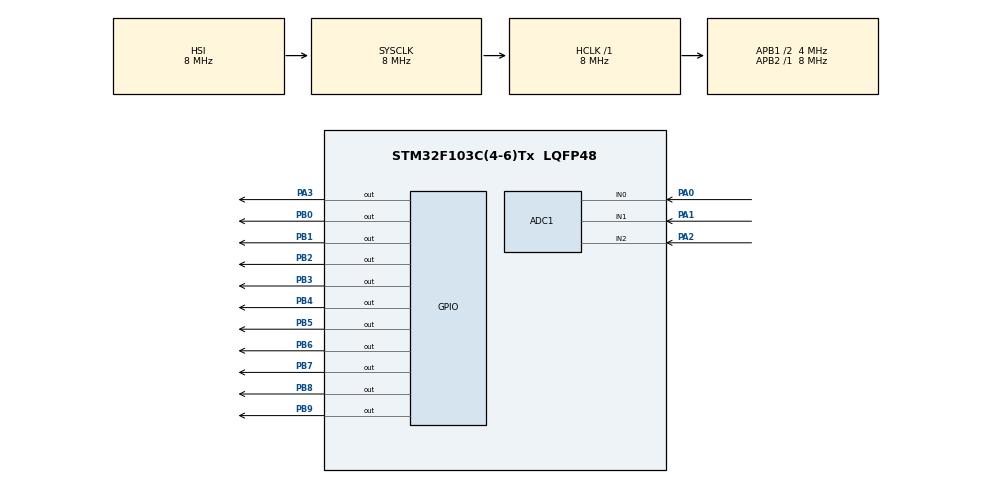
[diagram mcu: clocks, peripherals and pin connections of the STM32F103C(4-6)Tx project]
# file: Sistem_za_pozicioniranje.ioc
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ADC1.Channel-0\#ChannelRegularConversion=ADC_CHANNEL_0
ADC1.Channel-1\#ChannelRegularConversion=ADC_CHANNEL_1
ADC1.Channel-2\#ChannelRegularConversion=ADC_CHANNEL_2
ADC1.ContinuousConvMode=DISABLE
ADC1.NbrOfConversion=3
ADC1.NbrOfConversionFlag=1
ADC1.Rank-0\#ChannelRegularConversion=1
ADC1.Rank-1\#ChannelRegularConversion=2
ADC1.Rank-2\#ChannelRegularConversion=3
ADC1.SamplingTime-0\#ChannelRegularConversion=ADC_SAMPLETIME_239CYCLES_5
ADC1.SamplingTime-1\#ChannelRegularConversion=ADC_SAMPLETIME_239CYCLES_5
ADC1.SamplingTime-2\#ChannelRegularConversion=ADC_SAMPLETIME_239CYCLES_5
ADC1.master=1
Mcu.Family=STM32F1
Mcu.Name=STM32F103C(4-6)Tx
Mcu.Package=LQFP48
NVIC.PriorityGroup=NVIC_PRIORITYGROUP_4
PA0-WKUP.Signal=ADCx_IN0
PA1.Signal=ADCx_IN1
PA13.Mode=Serial_Wire
PA13.Signal=SYS_JTMS-SWDIO
PA14.Mode=Serial_Wire
PA14.Signal=SYS_JTCK-SWCLK
PA2.Signal=ADCx_IN2
PA3.Signal=GPIO_Output
PB0.Signal=GPIO_Output
PB1.Signal=GPIO_Output
PB2.Signal=GPIO_Output
PB3.Signal=GPIO_Output
PB4.Signal=GPIO_Output
PB5.Signal=GPIO_Output
PB6.Signal=GPIO_Output
PB7.Signal=GPIO_Output
PB8.Signal=GPIO_Output
PB9.Signal=GPIO_Output
PD0-OSC_IN.Mode=HSE-External-Oscillator
PD0-OSC_IN.Signal=RCC_OSC_IN
PD1-OSC_OUT.Mode=HSE-External-Oscillator
PD1-OSC_OUT.Signal=RCC_OSC_OUT
ProjectManager.HeapSize=0x200
ProjectManager.StackSize=0x400
ProjectManager.TargetToolchain=STM32CubeIDE
RCC.AHBFreq_Value=8000000
RCC.APB1CLKDivider=RCC_HCLK_DIV2
RCC.APB1Freq_Value=4000000
RCC.APB1TimFreq_Value=8000000
RCC.APB2Freq_Value=8000000
RCC.APB2TimFreq_Value=8000000
RCC.HCLKFreq_Value=8000000
RCC.SYSCLKFreq_VALUE=8000000
RCC.USBFreq_Value=8000000
SH.ADCx_IN0.0=ADC1_IN0,IN0
SH.ADCx_IN1.0=ADC1_IN1,IN1
SH.ADCx_IN2.0=ADC1_IN2,IN2
board=custom

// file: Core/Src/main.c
/* USER CODE BEGIN Header */
/**
  ******************************************************************************
  * @file           : main.c
  * @brief          : Main program body
  ******************************************************************************
  * @attention
  *
  * Copyright (c) 2024 STMicroelectronics.
  * All rights reserved.
  *
  * This software is licensed under terms that can be found in the LICENSE file
  * in the root directory of this software component.
  * If no LICENSE file comes with this software, it is provided AS-IS.
  *
  ******************************************************************************
  */
/* USER CODE END Header */
#include "main.h"

ADC_HandleTypeDef hadc1;

void SystemClock_Config(void);
static void MX_GPIO_Init(void);
static void MX_ADC1_Init(void);

/* USER CODE BEGIN 0 */

void LCD(uint8_t val_1, uint8_t cmd)
{
	uint8_t data1;

	HAL_GPIO_WritePin(GPIOB, GPIO_PIN_8, cmd); // set RS = cmd; (cmd=0)=>Command; (cmd=1) => data

	data1 = val_1 & 0x01;
	HAL_GPIO_WritePin(GPIOB, GPIO_PIN_0, data1);

	data1 = (val_1 >> 1) & 0x01;
	HAL_GPIO_WritePin(GPIOB, GPIO_PIN_1, data1);

	data1 = (val_1 >> 2) & 0x01;
	HAL_GPIO_WritePin(GPIOB, GPIO_PIN_2, data1);

	data1 = (val_1 >> 3) & 0x01;
	HAL_GPIO_WritePin(GPIOB, GPIO_PIN_3, data1);

	data1 = (val_1 >> 4) & 0x01;
	HAL_GPIO_WritePin(GPIOB, GPIO_PIN_4, data1);

	data1 = (val_1 >> 5) & 0x01;
	HAL_GPIO_WritePin(GPIOB, GPIO_PIN_5, data1);

	data1 = (val_1 >> 6) & 0x01;
	HAL_GPIO_WritePin(GPIOB, GPIO_PIN_6, data1);

	data1 = (val_1 >> 7) & 0x01;
	HAL_GPIO_WritePin(GPIOB, GPIO_PIN_7, data1);

	//Enable
	HAL_GPIO_WritePin(GPIOB, GPIO_PIN_9, GPIO_PIN_SET);
	HAL_Delay(5);
	HAL_GPIO_WritePin(GPIOB, GPIO_PIN_9, GPIO_PIN_RESET);
}

// Helper function to send command to the LCD
void LCD_command(uint8_t command)
{
    LCD(command, 0); // Send command
}

// Helper function to send data to the LCD
void LCD_data(const char* str)
{
    // Iterate through each character in the string
    while (*str)
    {
        // Cast the character to uint8_t and send it to the LCD as data
        LCD((uint8_t)(*str), 1);
        str++;  // Move to the next character
    }
}

void LCD_init()
{
	LCD_command(0x38); //2 lines, 5*7 matrix
	LCD_command(0x0C); //Display on, cursor off
	LCD_command(0x06); //Increment cursor (shift to right)
	LCD_command(0x01); //Clear display screen
	LCD_command(0x80); //Force cursors to beginning (1st line)
}

void Print(float number)
{
	int ceo, ostCeo=0;
	float ost;
	int i=0;
	char buffer[10];

	ceo = number;
	ost = number-ceo;
	ostCeo = ost*100;
    ostCeo=abs(ostCeo);

    sprintf(buffer,"%d",ceo);
    while(buffer[i])
	{
	    LCD(buffer[i],1);
		i++;
	}

	LCD('.',1);
	sprintf(buffer,"%d",ostCeo);
	i=0;

	while(buffer[i])
	{
		LCD(buffer[i],1);
		i++;
	}
}

void ADC_Select_CH0 (void)
{
	ADC_ChannelConfTypeDef sConfig = {0};
	  sConfig.Channel = ADC_CHANNEL_0;
	  sConfig.Rank = 1;
	  if (HAL_ADC_ConfigChannel(&hadc1, &sConfig) != HAL_OK)
	  {
	    Error_Handler();
	  }
}

void ADC_Select_CH1 (void)
{
	ADC_ChannelConfTypeDef sConfig = {0};
	  sConfig.Channel = ADC_CHANNEL_1;
	  sConfig.Rank = 1;
	  if (HAL_ADC_ConfigChannel(&hadc1, &sConfig) != HAL_OK)
	  {
	    Error_Handler();
	  }
}

void ADC_Select_CH2 (void)
{
	ADC_ChannelConfTypeDef sConfig = {0};
	  sConfig.Channel = ADC_CHANNEL_2;
	  sConfig.Rank = 1;
	  if (HAL_ADC_ConfigChannel(&hadc1, &sConfig) != HAL_OK)
	  {
	    Error_Handler();
	  }
}

/* USER CODE END 0 */

int main(void)
{

  /* MCU Configuration--------------------------------------------------------*/

  /* Reset of all peripherals, Initializes the Flash interface and the Systick. */
  HAL_Init();

  /* Configure the system clock */
  SystemClock_Config();

  /* Initialize all configured peripherals */
  MX_GPIO_Init();
  MX_ADC1_Init();
  /* USER CODE BEGIN 2 */
  uint16_t X, Y, Z;
  /* USER CODE END 2 */

  /* Infinite loop */
  while (1)
  {
	  	  HAL_GPIO_WritePin(GPIOA, GPIO_PIN_3, GPIO_PIN_SET);
	  	  LCD_init();
	  	  LCD_data("MERIM UGAO...");
	  	  HAL_Delay(500);

	  	  HAL_GPIO_WritePin(GPIOA, GPIO_PIN_3, GPIO_PIN_RESET);
	  	  LCD_init();
	  	  HAL_Delay(200);

	      ADC_Select_CH0();
	      HAL_ADC_Start(&hadc1);
	  	  HAL_ADC_PollForConversion(&hadc1, 1000);
	  	  X = HAL_ADC_GetValue(&hadc1);
	      HAL_ADC_Stop(&hadc1);

	      ADC_Select_CH1();
	      HAL_ADC_Start(&hadc1);
	      HAL_ADC_PollForConversion(&hadc1, 1000);
	      Y = HAL_ADC_GetValue(&hadc1);
	      HAL_ADC_Stop(&hadc1);

	      ADC_Select_CH2();
	      HAL_ADC_Start(&hadc1);
	      HAL_ADC_PollForConversion(&hadc1, 1000);
	      Z = HAL_ADC_GetValue(&hadc1);
	      HAL_ADC_Stop(&hadc1);

	      float degrees = (500.0*X)/2702.0 - 250;
	      LCD_data("X:");
	      Print(degrees);
	      LCD_data(" ");
	      LCD(223, 1);
	      LCD_data("/s");
	      HAL_Delay(500);
	      LCD_init();

	      degrees = (500.0*Y)/2702.0 - 250;
	      LCD_data("Y:");
	      Print(degrees);
	      LCD_data(" ");
	      LCD(223, 1);
	      LCD_data("/s");
	      HAL_Delay(500);
	      LCD_init();

          degrees = (500.0*Z)/2702.0 - 250;
          LCD_data("Z:");
          LCD_data(" ");
          Print(degrees);
          LCD(223, 1);
          LCD_data("/s");
          HAL_Delay(1000);

  }
}

void SystemClock_Config(void)
{
  RCC_OscInitTypeDef RCC_OscInitStruct = {0};
  RCC_ClkInitTypeDef RCC_ClkInitStruct = {0};
  RCC_PeriphCLKInitTypeDef PeriphClkInit = {0};

  /** Initializes the RCC Oscillators according to the specified parameters
  * in the RCC_OscInitTypeDef structure.
  */
  RCC_OscInitStruct.OscillatorType = RCC_OSCILLATORTYPE_HSI;
  RCC_OscInitStruct.HSIState = RCC_HSI_ON;
  RCC_OscInitStruct.HSICalibrationValue = RCC_HSICALIBRATION_DEFAULT;
  RCC_OscInitStruct.PLL.PLLState = RCC_PLL_NONE;
  if (HAL_RCC_OscConfig(&RCC_OscInitStruct) != HAL_OK)
  {
    Error_Handler();
  }

  /** Initializes the CPU, AHB and APB buses clocks
  */
  RCC_ClkInitStruct.ClockType = RCC_CLOCKTYPE_HCLK|RCC_CLOCKTYPE_SYSCLK
                              |RCC_CLOCKTYPE_PCLK1|RCC_CLOCKTYPE_PCLK2;
  RCC_ClkInitStruct.SYSCLKSource = RCC_SYSCLKSOURCE_HSI;
  RCC_ClkInitStruct.AHBCLKDivider = RCC_SYSCLK_DIV1;
  RCC_ClkInitStruct.APB1CLKDivider = RCC_HCLK_DIV2;
  RCC_ClkInitStruct.APB2CLKDivider = RCC_HCLK_DIV1;

  if (HAL_RCC_ClockConfig(&RCC_ClkInitStruct, FLASH_LATENCY_0) != HAL_OK)
  {
    Error_Handler();
  }
  PeriphClkInit.PeriphClockSelection = RCC_PERIPHCLK_ADC;
  PeriphClkInit.AdcClockSelection = RCC_ADCPCLK2_DIV2;
  if (HAL_RCCEx_PeriphCLKConfig(&PeriphClkInit) != HAL_OK)
  {
    Error_Handler();
  }
}

static void MX_ADC1_Init(void)
{

  ADC_ChannelConfTypeDef sConfig = {0};

  /** Common config
  */
  hadc1.Instance = ADC1;
  hadc1.Init.ScanConvMode = ADC_SCAN_ENABLE;
  hadc1.Init.ContinuousConvMode = DISABLE;
  hadc1.Init.DiscontinuousConvMode = DISABLE;
  hadc1.Init.ExternalTrigConv = ADC_SOFTWARE_START;
  hadc1.Init.DataAlign = ADC_DATAALIGN_RIGHT;
  hadc1.Init.NbrOfConversion = 1;
  if (HAL_ADC_Init(&hadc1) != HAL_OK)
  {
    Error_Handler();
  }

  /** Configure Regular Channel
  */
/*  sConfig.Channel = ADC_CHANNEL_0;
  sConfig.Rank = ADC_REGULAR_RANK_1;
  sConfig.SamplingTime = ADC_SAMPLETIME_239CYCLES_5;
  if (HAL_ADC_ConfigChannel(&hadc1, &sConfig) != HAL_OK)
  {
    Error_Handler();
  }
*/
  /** Configure Regular Channel
  */
/*  sConfig.Channel = ADC_CHANNEL_1;
  sConfig.Rank = ADC_REGULAR_RANK_2;
  if (HAL_ADC_ConfigChannel(&hadc1, &sConfig) != HAL_OK)
  {
    Error_Handler();
  }
*/
  /** Configure Regular Channel
  */
/*  sConfig.Channel = ADC_CHANNEL_2;
  sConfig.Rank = ADC_REGULAR_RANK_3;
  if (HAL_ADC_ConfigChannel(&hadc1, &sConfig) != HAL_OK)
  {
    Error_Handler();
  }*/

}

static void MX_GPIO_Init(void)
{
  GPIO_InitTypeDef GPIO_InitStruct = {0};

  /* GPIO Ports Clock Enable */
  __HAL_RCC_GPIOD_CLK_ENABLE();
  __HAL_RCC_GPIOA_CLK_ENABLE();
  __HAL_RCC_GPIOB_CLK_ENABLE();

  /*Configure GPIO pin Output Level */
  HAL_GPIO_WritePin(GPIOA, GPIO_PIN_3, GPIO_PIN_RESET);

  /*Configure GPIO pin Output Level */
  HAL_GPIO_WritePin(GPIOB, GPIO_PIN_0|GPIO_PIN_1|GPIO_PIN_2|GPIO_PIN_3
                          |GPIO_PIN_4|GPIO_PIN_5|GPIO_PIN_6|GPIO_PIN_7
                          |GPIO_PIN_8|GPIO_PIN_9, GPIO_PIN_RESET);

  /*Configure GPIO pin : PA3 */
  GPIO_InitStruct.Pin = GPIO_PIN_3;
  GPIO_InitStruct.Mode = GPIO_MODE_OUTPUT_PP;
  GPIO_InitStruct.Pull = GPIO_NOPULL;
  GPIO_InitStruct.Speed = GPIO_SPEED_FREQ_LOW;
  HAL_GPIO_Init(GPIOA, &GPIO_InitStruct);

  /*Configure GPIO pins : PB0 PB1 PB2 PB3
                           PB4 PB5 PB6 PB7
                           PB8 PB9 */
  GPIO_InitStruct.Pin = GPIO_PIN_0|GPIO_PIN_1|GPIO_PIN_2|GPIO_PIN_3
                          |GPIO_PIN_4|GPIO_PIN_5|GPIO_PIN_6|GPIO_PIN_7
                          |GPIO_PIN_8|GPIO_PIN_9;
  GPIO_InitStruct.Mode = GPIO_MODE_OUTPUT_PP;
  GPIO_InitStruct.Pull = GPIO_NOPULL;
  GPIO_InitStruct.Speed = GPIO_SPEED_FREQ_LOW;
  HAL_GPIO_Init(GPIOB, &GPIO_InitStruct);

}

void Error_Handler(void)
{
  __disable_irq();
  while (1)
  {
  }
}
